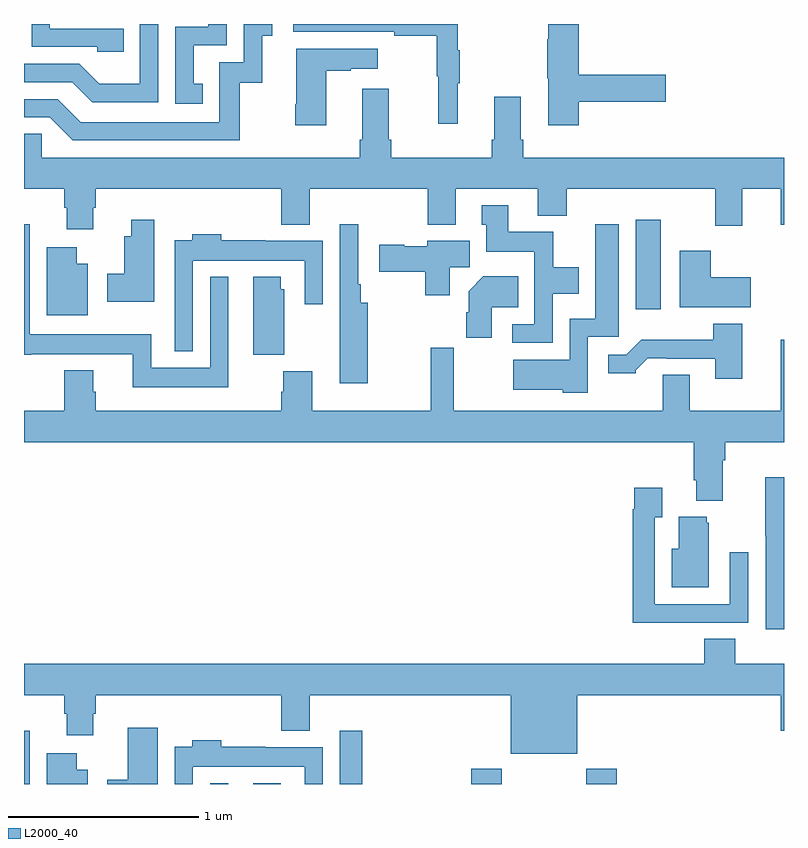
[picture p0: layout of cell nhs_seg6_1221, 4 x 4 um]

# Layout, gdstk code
import gdstk
lib = gdstk.Library(unit=1e-6, precision=1e-09)
def R(c, l, rs):  # rectangles x0, y0, x1, y1
    for r in rs: c.add(gdstk.rectangle(r[:2], r[2:], *l))
def P(c, l, *ps):  # polygons
    for p in ps: c.add(gdstk.Polygon(p, *l))
L2000_40 = (2000, 40)

nhs_seg6_1221 = lib.new_cell('nhs_seg6_1221')
R(nhs_seg6_1221, L2000_40, [(185,981.5,185.031,981.781), (185.979,981.5,186.076,981.505), (186.206,981.5,186.352,981.505), (186.663,981.5,186.779,981.781), (187.355,981.5,187.515,981.58), (187.96,981.5,188.12,981.58), (188.219,984,188.35,984.469)])
P(nhs_seg6_1221, L2000_40, [(185.942,985.185),(185.893,985.185),(185.893,985.389),(186.066,985.389),(186.066,985.5),(185.97,985.5),(185.97,985.485),(185.796,985.485),(185.796,985.08),(185.942,985.08)],
  [(187.919,985.09),(188.377,985.09),(188.377,985.232),(187.919,985.232),(187.919,985.5),(187.76,985.5),(187.76,985.421),(187.753,985.421),(187.753,985.215),(187.76,985.215),(187.76,984.966),(187.919,984.966)],
  [(185.525,985.476),(185.136,985.476),(185.136,985.5),(185.04,985.5),(185.04,985.38),(185.385,985.38),(185.385,985.353),(185.525,985.353)],
  [(186.136,985.191),(186.254,985.191),(186.254,985.437),(186.307,985.437),(186.307,985.5),(186.156,985.5),(186.156,985.299),(186.027,985.299),(186.027,984.984),(185.298,984.984),(185.178,985.104),(185,985.104),(185,985.008),(185.136,985.008),(185.256,984.888),(186.136,984.888)],
  [(185.706,985.5),(185.61,985.5),(185.61,985.186),(185.396,985.186),(185.292,985.29),(185,985.29),(185,985.194),(185.255,985.194),(185.36,985.089),(185.706,985.089)],
  [(187.283,985.187),(187.294,985.187),(187.294,985.361),(187.283,985.361),(187.283,985.5),(186.417,985.5),(186.417,985.458),(186.949,985.458),(186.949,985.438),(187.173,985.438),(187.173,985.224),(187.18,985.224),(187.18,984.975),(187.283,984.975)],
  [(186.592,985.255),(186.719,985.255),(186.719,985.265),(186.862,985.265),(186.862,985.369),(186.434,985.369),(186.434,985.078),(186.427,985.078),(186.427,984.966),(186.592,984.966)],
  [(185.365,984.534),(185.378,984.534),(185.378,984.632),(186.353,984.632),(186.353,984.443),(186.505,984.443),(186.505,984.632),(187.126,984.632),(187.126,984.443),(187.273,984.443),(187.273,984.632),(187.703,984.632),(187.703,984.491),(187.856,984.491),(187.856,984.632),(188.639,984.632),(188.639,984.438),(188.779,984.438),(188.779,984.632),(188.984,984.632),(188.984,984.444),(189,984.444),(189,984.796),(187.628,984.796),(187.628,984.892),(187.615,984.892),(187.615,985.117),(187.475,985.117),(187.475,984.892),(187.463,984.892),(187.463,984.796),(186.932,984.796),(186.932,984.892),(186.919,984.892),(186.919,985.159),(186.779,985.159),(186.779,984.892),(186.767,984.892),(186.767,984.796),(185.094,984.796),(185.094,984.923),(185,984.923),(185,984.632),(185.213,984.632),(185.213,984.534),(185.225,984.534),(185.225,984.42),(185.365,984.42)],
  [(187.782,984.08),(187.921,984.08),(187.921,984.22),(187.785,984.22),(187.785,984.406),(187.549,984.406),(187.549,984.547),(187.409,984.547),(187.409,984.444),(187.433,984.444),(187.433,984.302),(187.686,984.302),(187.686,983.919),(187.569,983.919),(187.569,983.823),(187.782,983.823)],
  [(185.686,984.469),(185.564,984.469),(185.564,984.382),(185.528,984.382),(185.528,984.186),(185.439,984.186),(185.439,984.038),(185.686,984.038)],
  [(186.809,984.034),(186.772,984.034),(186.772,984.13),(186.759,984.13),(186.759,984.445),(186.663,984.445),(186.663,983.93),(186.662,983.93),(186.662,983.61),(186.809,983.61)],
  [(187.968,983.853),(188.131,983.853),(188.131,984.445),(188.006,984.445),(188.006,983.95),(187.872,983.95),(187.872,983.734),(187.575,983.734),(187.575,983.576),(187.836,983.576),(187.836,983.558),(187.968,983.558)],
  [(186.076,984.169),(185.979,984.169),(185.979,983.692),(185.67,983.692),(185.67,983.866),(185.031,983.866),(185.031,984.445),(185,984.445),(185,983.76),(185.038,983.76),(185.038,983.762),(185.573,983.762),(185.573,983.588),(186.076,983.588)],
  [(185.889,984.254),(186.477,984.254),(186.477,984.024),(186.573,984.024),(186.573,984.358),(186.269,984.358),(186.269,984.361),(186.038,984.361),(186.038,984.394),(185.885,984.394),(185.885,984.361),(185.793,984.361),(185.793,983.777),(185.889,983.777)],
  [(187.24,984.22),(187.345,984.22),(187.345,984.358),(187.122,984.358),(187.122,984.331),(187.002,984.331),(187.002,984.339),(186.87,984.339),(186.87,984.197),(187.111,984.197),(187.111,984.072),(187.24,984.072)],
  [(185.335,984.238),(185.278,984.238),(185.278,984.325),(185.12,984.325),(185.12,983.966),(185.335,983.966)],
  [(188.824,984.166),(188.614,984.166),(188.614,984.307),(188.45,984.307),(188.45,984.008),(188.824,984.008)],
  [(187.462,984.008),(187.601,984.008),(187.601,984.172),(187.418,984.172),(187.34,984.094),(187.34,983.984),(187.328,983.984),(187.328,983.85),(187.462,983.85)],
  [(186.37,984.105),(186.352,984.105),(186.352,984.169),(186.206,984.169),(186.206,983.758),(186.37,983.758)],
  [(188.779,983.923),(188.627,983.923),(188.627,983.839),(188.248,983.839),(188.169,983.76),(188.076,983.76),(188.076,983.663),(188.22,983.663),(188.22,983.678),(188.284,983.742),(188.383,983.742),(188.383,983.739),(188.639,983.739),(188.639,983.634),(188.779,983.634)],
  [(188.677,983.204),(188.69,983.204),(188.69,983.3),(189,983.3),(189,983.839),(188.984,983.839),(188.984,983.464),(188.503,983.464),(188.503,983.654),(188.363,983.654),(188.363,983.464),(187.261,983.464),(187.261,983.797),(187.14,983.797),(187.14,983.464),(186.518,983.464),(186.518,983.673),(186.365,983.673),(186.365,983.564),(186.353,983.564),(186.353,983.464),(185.378,983.464),(185.378,983.565),(185.365,983.565),(185.365,983.677),(185.213,983.677),(185.213,983.464),(185,983.464),(185,983.3),(188.525,983.3),(188.525,983.098),(188.537,983.098),(188.537,982.991),(188.677,982.991)],
  [(189,983.114),(188.902,983.114),(188.902,982.807),(188.904,982.807),(188.904,982.314),(189,982.314)],
  [(188.495,982.35),(188.811,982.35),(188.811,982.72),(188.715,982.72),(188.715,982.446),(188.319,982.446),(188.319,982.903),(188.359,982.903),(188.359,983.059),(188.211,983.059),(188.211,982.946),(188.203,982.946),(188.203,982.349),(188.495,982.349)],
  [(188.605,982.875),(188.594,982.875),(188.594,982.906),(188.447,982.906),(188.447,982.738),(188.408,982.738),(188.408,982.535),(188.605,982.535)],
  [(187.912,981.968),(188.984,981.968),(188.984,981.78),(189,981.78),(189,982.132),(188.744,982.132),(188.744,982.265),(188.579,982.265),(188.579,982.132),(185,982.132),(185,981.968),(185.213,981.968),(185.213,981.87),(185.225,981.87),(185.225,981.756),(185.365,981.756),(185.365,981.87),(185.378,981.87),(185.378,981.968),(186.353,981.968),(186.353,981.779),(186.505,981.779),(186.505,981.968),(187.562,981.968),(187.562,981.659),(187.912,981.659)],
  [(185.704,981.796),(185.546,981.796),(185.546,981.522),(185.439,981.522),(185.439,981.5),(185.704,981.5)],
  [(185.889,981.59),(186.477,981.59),(186.477,981.5),(186.573,981.5),(186.573,981.694),(186.269,981.694),(186.269,981.697),(186.038,981.697),(186.038,981.73),(185.885,981.73),(185.885,981.697),(185.793,981.697),(185.793,981.5),(185.889,981.5)],
  [(185.335,981.574),(185.278,981.574),(185.278,981.661),(185.12,981.661),(185.12,981.5),(185.335,981.5)])

lib.write_gds('nhs_seg6_1221.gds')
